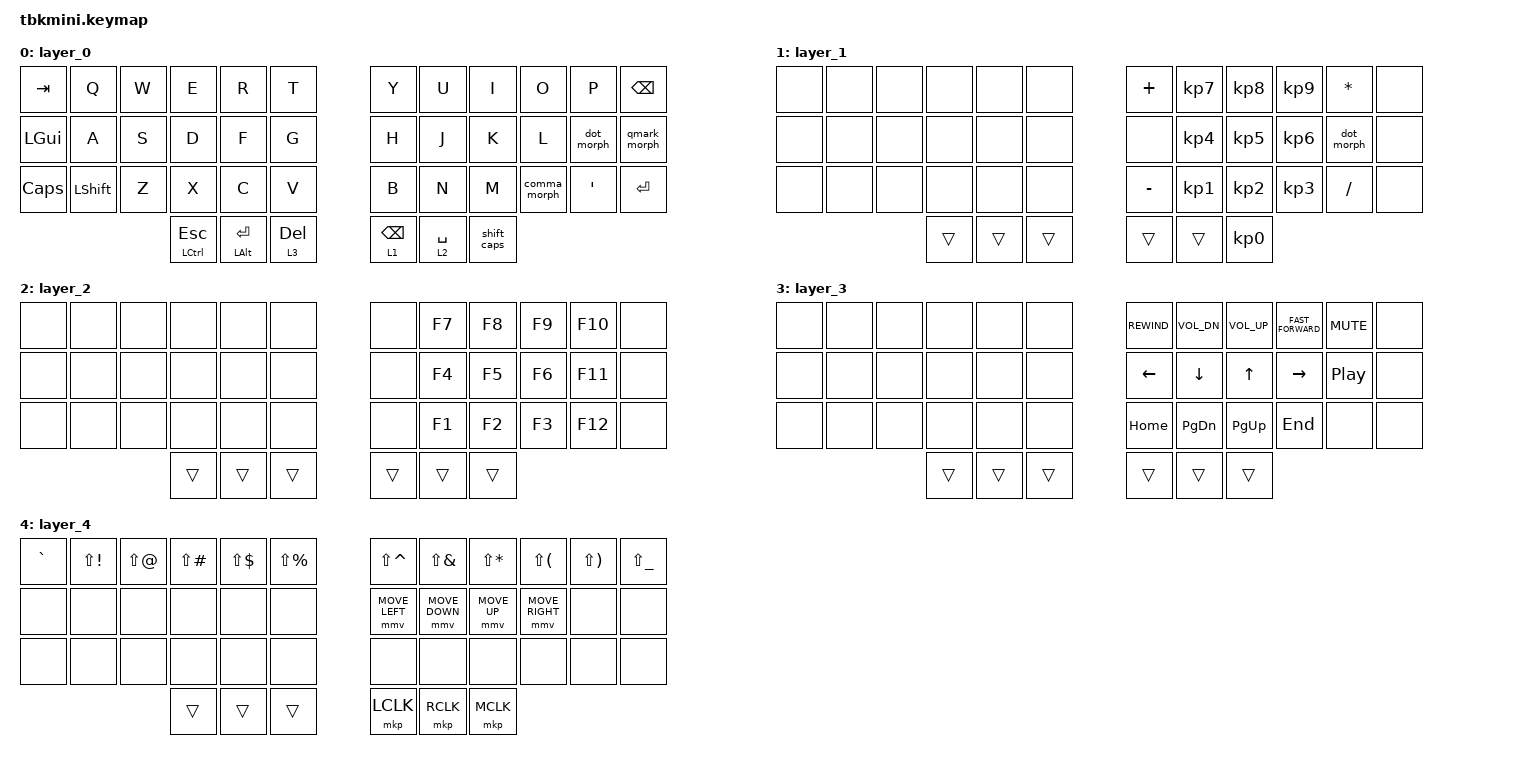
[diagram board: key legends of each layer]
#include <behaviors.dtsi>
#include <dt-bindings/zmk/keys.h>
#inclue <dt-bindings/zmk/bt.h>

//
/* Global settings */
//

#define QUICK_TAP_MS 175

&sk {
    release-after-ms = <900>;  // release after 0.6s
    quick-release;             // no double capitalization when rolling keys
};

&sl {
    ignore-modifiers;          // allow chording sticky mods & layers
};

&lt {
    flavor = "balanced";
    tapping-term-ms = <200>;
    quick-tap-ms = <QUICK_TAP_MS>;
};

//
/* Morphs */
//

/ {
    behaviors {
        // tap: comma | shift + tap: semicolon | ctrl + shift + tap: <

        comma_morph: mod_morph {
            compatible = "zmk,behavior-mod-morph";
            #binding-cells = <0>;
            bindings = <&kp COMMA>, <&kp &comma_inner_morph>;

            mods = <(MOD_LSFT|MOD_RSFT)>;
        };

        comma_inner_morph: mod_morph {
            compatible = "zmk,behavior-mod-morph";
            #binding-cells = <0>;
            bindings = <&kp SEMICOLON>, <&kp LESS_THAN>;

            mods = <(MOD_LCTL|MOD_RCTL)>;
        };

        // tap: dot | shift + tap: colon | ctrl + shift + tap: >

        dot_morph: mod_morph {
            compatible = "zmk,behavior-mod-morph";
            #binding-cells = <0>;
            bindings = <&kp DOT>, <&kp &dot_inner_morph>;

            mods = <(MOD_LSFT|MOD_RSFT)>;
        };

        dot_inner_morph: mod_morph {
            compatible = "zmk,behavior-mod-morph";
            #binding-cells = <0>;
            bindings = <&kp COLON>, <&kp GREATER_THAN>;

            mods = <(MOD_LCTL|MOD_RCTL)>;
        };

        // tap: qmark | shift + tap: excl

        qmark_morph: mod_morph {
            compatible = "zmk,behavior-mod-morph";
            #binding-cells = <0>;
            bindings = <&kp QMARK>, <&kp &EXCL>;

            mods = <(MOD_LSFT|MOD_RSFT)>;
        };

        // tap: left/right parenthesis | shft + tap: less-than/greater-than

        lpar_lt: mod_morph {
            compatible = "zmk,behavior-mod-morph";
            #binding-cells = <0>;
            bindings = <&kp LPAR>, <&kp &LT>;

            mods = <(MOD_LSFT|MOD_RSFT)>;
        };

        rpar_gt: mod_morph {
            compatible = "zmk,behavior-mod-morph";
            #binding-cells = <0>;
            bindings = <&kp RPAR>, <&kp &RT>;

            mods = <(MOD_LSFT|MOD_RSFT)>;
        };

        shift_caps: shift_caps {
            compatible = "zmk,behavior-tap-dance";
            label = "SHIFT_CAPS";
            #binding-cells = <0>;
            bindings = <&kp RIGHT_SHIFT>, <&kp CAPS>;
        };
    };
};

//
/* Mouse */
//

#define ZMK_MOUSE_DEFAULT_MOVE_VAL 1500  // 600
#define ZMK_MOUSE_DEFAULT_SCRL_VAL 20    // 10

#include <dt-bindings/zmk/mouse.h>
#include <behaviors.dtsi>
#include <dt-bindings/zmk/bt.h>
#include <dt-bindings/zmk/keys.h>
#include <dt-bindings/zmk/outputs.h>

&mmv {
    acceleration-exponent = <1>;      // 1
    time-to-max-speed-ms = <500>;    // 40
    delay-ms = <0>;                   // 0
};

&msc {
    acceleration-exponent = <1>;      // 0
    time-to-max-speed-ms = <40>;      // 500
    delay-ms = <0>;                   // 10
};

#define U_MS_U &mmv MOVE_UP
#define U_MS_D &mmv MOVE_DOWN
#define U_MS_L &mmv MOVE_LEFT
#define U_MS_R &mmv MOVE_RIGHT
#define U_WH_U &msc SCRL_UP
#define U_WH_D &msc SCRL_DOWN
#define U_WH_L &msc SCRL_LEFT
#define U_WH_R &msc SCRL_RIGHT

//
/* Combos */
//

/ {
    combos {
        compatible = "zmk,combos";

        RH_BT {
            bindings = <&out OUT_BLE>;
            key-positions = <10 9 8 7>;
        };

        LH_USB {
            bindings = <&out OUT_USB>;
            key-positions = <1 2 3 4>;
        };

        CLR_BT {
            bindings = <&bt BT_CLR>;
            key-positions = <1 2 3 4 7 8 9 10>;
        };

        RH_BT1 {
            bindings = <&bt BT_SEL 1>;
            key-positions = <7 8 9 10 31>;
        };

        RH_BT2 {
            bindings = <&bt BT_SEL 2>;
            key-positions = <7 8 9 10 32>;
        };

        RH_BT3 {
            bindings = <&bt BT_SEL 3>;
            key-positions = <7 8 9 10 33>;
        };

        RH_BT4 {
            bindings = <&bt BT_SEL 4>;
            key-positions = <7 8 9 10 19>;
        };

        RH_BT0 {
            bindings = <&bt BT_SEL 0>;
            key-positions = <7 8 9 10 41>;
        };

        LH_ESC {
            bindings = <&kp ESCAPE>;
            key-positions = <2 3>;
        };

        LH_RTN {
            bindings = <&kp ENTER>;
            key-positions = <4 3>;
        };

        LH_REPEAT {
            bindings = <&key_repeat>;
            key-positions = <16 15>;
        };

        LH_TAB {
            bindings = <&kp TAB>;
            key-positions = <15 14>;
        };

        LH_CUT {
            bindings = <&kp LC(X)>;
            key-positions = <25 26>;
        };

        LH_COPY {
            bindings = <&kp LC(C)>;
            key-positions = <26 27>;
        };

        LH_PASTE {
            bindings = <&kp LC(V)>;
            key-positions = <27 28>;
        };

        LH_AT {
            bindings = <&kp AT_SIGN>;
            key-positions = <2 14>;
        };

        LH_GRAVE {
            bindings = <&kp GRAVE>;
            key-positions = <14 26>;
        };

        LH_POUND {
            bindings = <&kp POUND>;
            key-positions = <15 3>;
        };

        LH_BLSH {
            bindings = <&kp BSLH>;
            key-positions = <15 27>;
        };

        LH_DLLR {
            bindings = <&kp DLLR>;
            key-positions = <4 16>;
        };

        LH_EQUAL {
            bindings = <&kp EQUAL>;
            key-positions = <16 28>;
        };

        LH_PRCNT {
            bindings = <&kp PERCENT>;
            key-positions = <5 17>;
        };

        LH_TILDE {
            bindings = <&kp TILDE>;
            key-positions = <17 29>;
        };

        RH_BKSPC {
            bindings = <&kp BACKSPACE>;
            key-positions = <8 7>;
        };

        RH_DEL {
            bindings = <&kp DELETE>;
            key-positions = <8 9>;
        };

        RH_CARET {
            bindings = <&kp CARET>;
            key-positions = <6 18>;
        };

        RH_UNDER {
            bindings = <&kp UNDERSCORE>;
            key-positions = <18 30>;
        };

        RH_PLUS {
            bindings = <&kp PLUS>;
            key-positions = <7 19>;
        };

        RH_MINUS {
            bindings = <&kp KP_MINUS>;
            key-positions = <19 31>;
        };

        RH_ASTRK {
            bindings = <&kp ASTERISK>;
            key-positions = <8 20>;
        };

        RH_FLSH {
            bindings = <&kp FSLH>;
            key-positions = <32 20>;
        };

        RH_AMPS {
            bindings = <&kp AMPERSAND>;
            key-positions = <9 21>;
        };

        RH_PIPE {
            bindings = <&kp PIPE>;
            key-positions = <21 33>;
        };

        RH_CAPS_WORD {
            bindings = <&caps_word>;
            key-positions = <41 40>;
        };

        RH_LPAR {
            bindings = <&lpar_lt>;
            key-positions = <20 19>;
        };

        RH_RPAR {
            bindings = <&rpar_gt>;
            key-positions = <20 21>;
        };

        RH_LBRC {
            bindings = <&kp LEFT_BRACKET>;
            key-positions = <31 32>;
        };

        RH_RBRC {
            bindings = <&kp RIGHT_BRACE>;
            key-positions = <32 33>;
        };

        RH_ENTER {
            bindings = <&kp ENTER>;
            key-positions = <21 20 19>;
        };

        LH_LAYER4 {
            bindings = <&mo 4>;
            key-positions = <38 37>;
        };

        RH_SCRL_LEFT {
            bindings = <&msc SCRL_LEFT>;
            key-positions = <41 18 30>;
        };

        RH_SCRL_DOWN {
            bindings = <&msc SCRL_DOWN>;
            key-positions = <41 19 31>;
        };

        RH_SCRL_UP {
            bindings = <&msc SCRL_UP>;
            key-positions = <41 20 32>;
        };

        RH_SCRL_RIGHT {
            bindings = <&msc SCRL_RIGHT>;
            key-positions = <41 21 33>;
        };
    };

    //
    /* Keymap */
    //

    keymap {
        compatible = "zmk,keymap";

        layer_0 {
            bindings = <
&kp TAB       &kp Q           &kp W  &kp E             &kp R                &kp T         &kp Y            &kp U        &kp I        &kp O         &kp P             &kp BACKSPACE
&kp LEFT_GUI  &kp A           &kp S  &kp D             &kp F                &kp G         &kp H            &kp J        &kp K        &kp L         &dot_morph        &qmark_morph
&kp CAPS      &kp LEFT_SHIFT  &kp Z  &kp X             &kp C                &kp V         &kp B            &kp N        &kp M        &comma_morph  &kp SINGLE_QUOTE  &kp RETURN
                                     &mt LCTRL ESCAPE  &mt LEFT_ALT RETURN  &lt 3 DELETE  &lt 1 BACKSPACE  &lt 2 SPACE  &shift_caps
            >;
        };

        layer_1 {
            bindings = <
&none  &none  &none  &none   &none   &none   &kp PLUS   &kp KP_NUMBER_7  &kp KP_NUMBER_8  &kp KP_NUMBER_9  &kp ASTERISK  &none
&none  &none  &none  &none   &none   &none   &none      &kp KP_NUMBER_4  &kp KP_NUMBER_5  &kp KP_NUMBER_6  &dot_morph    &none
&none  &none  &none  &none   &none   &none   &kp MINUS  &kp KP_NUMBER_1  &kp KP_NUMBER_2  &kp KP_NUMBER_3  &kp FSLH      &none
                     &trans  &trans  &trans  &trans     &trans           &kp KP_NUMBER_0
            >;
        };

        layer_2 {
            bindings = <
&none  &none  &none  &none   &none   &none   &none   &kp F7  &kp F8  &kp F9  &kp F10  &none
&none  &none  &none  &none   &none   &none   &none   &kp F4  &kp F5  &kp F6  &kp F11  &none
&none  &none  &none  &none   &none   &none   &none   &kp F1  &kp F2  &kp F3  &kp F12  &none
                     &trans  &trans  &trans  &trans  &trans  &trans
            >;
        };

        layer_3 {
            bindings = <
&none  &none  &none  &none   &none   &none   &kp C_REWIND  &kp C_VOL_DN  &kp C_VOL_UP  &kp C_FAST_FORWARD  &kp C_MUTE  &none
&none  &none  &none  &none   &none   &none   &kp LEFT      &kp DOWN      &kp UP        &kp RIGHT           &kp C_PP    &none
&none  &none  &none  &none   &none   &none   &kp HOME      &kp PG_DN     &kp PG_UP     &kp END             &none       &none
                     &trans  &trans  &trans  &trans        &trans        &trans
            >;
        };

        layer_4 {
            bindings = <
&kp GRAVE  &kp LS(EXCL)  &kp LS(AT)  &kp LS(POUND)  &kp LS(DLLR)  &kp LS(PRCNT)  &kp LS(CARET)   &kp LS(AMPS)    &kp LS(STAR)  &kp LS(LPAR)     &kp LS(RPAR)  &kp LS(UNDER)
&none      &none         &none       &none          &none         &none          &mmv MOVE_LEFT  &mmv MOVE_DOWN  &mmv MOVE_UP  &mmv MOVE_RIGHT  &none         &none
&none      &none         &none       &none          &none         &none          &none           &none           &none         &none            &none         &none
                                     &trans         &trans        &trans         &mkp LCLK       &mkp RCLK       &mkp MCLK
            >;
        };
    };
};
